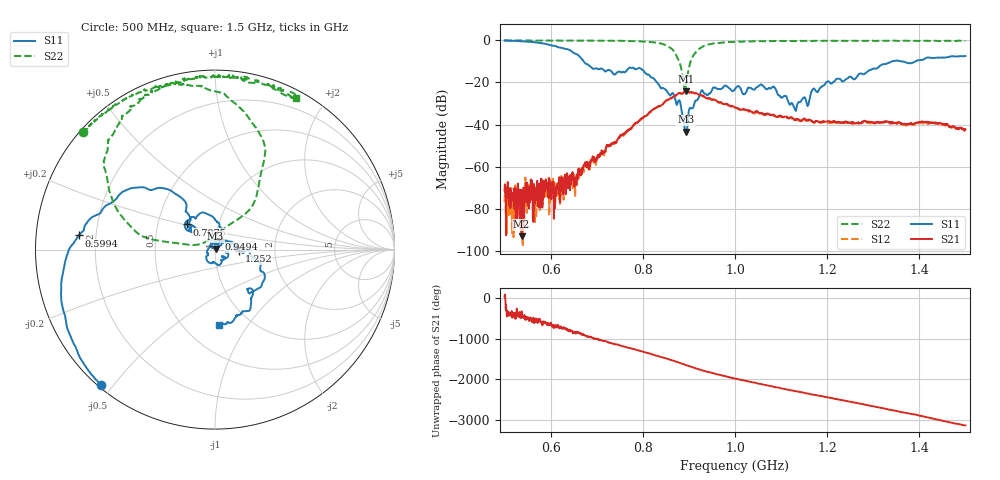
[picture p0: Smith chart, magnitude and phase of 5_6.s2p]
!Agilent Technologies,E8364B,US42250235,A.06.04.32
!Agilent E8364B: A.06.04.32
!Date: Friday, January 15, 2021 15:00:38
!Correction: S11(Full 2 Port(1,2)) S21(Full 2 Port(1,2)) S12(Full 2 Port(1,2)) S22(Full 2 Port(1,2))
!S2P File: Measurements: S11, S21, S12, S22:
# Hz S  dB  R 50
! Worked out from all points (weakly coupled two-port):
!   1601 points, 500 MHz to 1.5 GHz, reference 50 ohm
!   highest |S21| = -24.30 dB at 893.8 MHz (marker M1); lowest = -93.0 dB at 536.9 MHz (marker M2)
!   lowest |S11| = -43.4 dB at 893.1 MHz (marker M3), VSWR 1.01, Z = 50.3 + j0.604 ohm
!   |S11| at or under -10 dB: 671.6 MHz to 1.341 GHz (669.4 MHz wide, 66.5 % of centre); 1.36 GHz to 1.392 GHz (31.59 MHz wide, 2.3 % of centre)
!   |S22| runs from -23.9 to -0.1 dB; largest |S21 - S12| = 0.0026
!   S11 on the Smith chart (normalised r, x): 500 MHz: 0.01, -0.47; 599.4 MHz: 0.14, +0.05; 707.5 MHz: 0.70, +0.21; 949.4 MHz: 1.04, +0.12; 1.252 GHz: 1.31, -0.02; 1.5 GHz: 0.72, -0.74
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5e8  -0.13 -130.0  -71.29 42.5  -76.75 3.5  -0.15 138.4
5.36875e8  -0.52 -147.9  -92.96 38.0  -78.05 -68.8  -0.16 134.9
5.99375e8  -2.36 174.0  -69.51 73.0  -68.44 52.3  -0.18 129.5
6.23125e8  -3.60 159.1  -65.46 -4.8  -64.38 -9.0  -0.21 126.7
6.66875e8  -8.73 124.4  -61.38 -171.5  -63.56 -156.2  -0.19 121.5
7.075e8  -13.50 138.4  -53.64 47.5  -55.34 52.2  -0.25 117.4
7.94375e8  -13.31 106.9  -37.59 139.6  -37.85 138.5  -0.55 101.3
8.3375e8  -20.84 67.4  -31.30 8.2  -31.45 6.8  -1.30 85.9
8.68125e8  -26.25 40.2  -26.47 -109.0  -26.61 -110.3  -5.48 60.2
8.80625e8  -29.15 58.1  -25.07 -160.2  -25.22 -161.7  -11.18 49.4
8.93125e8  -43.42 62.8  -24.36 152.2  -24.58 151.4  -22.30 152.4
8.9375e8  -43.12 71.1  -24.30 149.8  -24.59 148.9  -21.33 158.4
9.1125e8  -30.42 141.7  -25.07 81.7  -25.16 80.6  -6.72 166.6
9.49375e8  -23.96 67.9  -28.15 -41.7  -28.15 -42.5  -1.75 137.0
1e9  -23.11 -10.3  -31.85 176.7  -31.95 176.0  -0.74 120.6
1.08375e9  -22.02 -112.2  -35.27 -25.8  -35.83 -28.1  -0.42 106.9
1.13e9  -32.78 140.5  -37.75 -131.6  -37.70 -134.6  -0.41 101.8
1.15875e9  -30.87 96.4  -37.95 165.5  -38.20 161.2  -0.30 99.1
1.166875e9  -23.84 69.1  -38.29 142.8  -38.36 143.0  -0.34 97.5
1.2525e9  -17.48 -2.7  -39.09 -40.6  -39.43 -45.5  -0.28 88.5
1.33375e9  -10.77 -25.0  -38.94 132.5  -39.27 129.0  -0.30 79.4
1.5e9  -7.48 -87.1  -42.32 99.5  -42.48 93.1  -0.38 62.0
